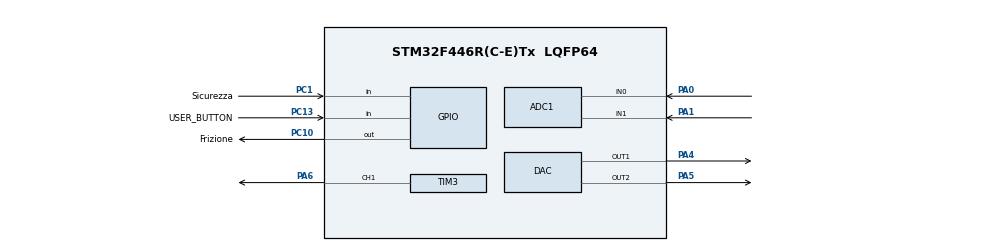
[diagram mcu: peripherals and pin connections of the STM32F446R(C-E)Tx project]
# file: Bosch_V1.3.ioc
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ADC1.Channel-2\#ChannelRegularConversion=ADC_CHANNEL_1
ADC1.Channel-3\#ChannelRegularConversion=ADC_CHANNEL_0
ADC1.ContinuousConvMode=ENABLE
ADC1.DMAContinuousRequests=ENABLE
ADC1.NbrOfConversion=2
ADC1.NbrOfConversionFlag=1
ADC1.Rank-2\#ChannelRegularConversion=1
ADC1.Rank-3\#ChannelRegularConversion=2
ADC1.SamplingTime-2\#ChannelRegularConversion=ADC_SAMPLETIME_144CYCLES
ADC1.SamplingTime-3\#ChannelRegularConversion=ADC_SAMPLETIME_144CYCLES
ADC1.master=1
Dma.ADC1.0.Direction=DMA_PERIPH_TO_MEMORY
Dma.ADC1.0.FIFOMode=DMA_FIFOMODE_DISABLE
Dma.ADC1.0.Instance=DMA2_Stream0
Dma.ADC1.0.MemDataAlignment=DMA_MDATAALIGN_HALFWORD
Dma.ADC1.0.MemInc=DMA_MINC_ENABLE
Dma.ADC1.0.Mode=DMA_CIRCULAR
Dma.ADC1.0.PeriphDataAlignment=DMA_PDATAALIGN_HALFWORD
Dma.ADC1.0.PeriphInc=DMA_PINC_DISABLE
Dma.ADC1.0.Priority=DMA_PRIORITY_LOW
Dma.Request0=ADC1
Mcu.Family=STM32F4
Mcu.Name=STM32F446R(C-E)Tx
Mcu.Package=LQFP64
NVIC.DMA2_Stream0_IRQn=true\:0\:0\:false\:false\:true\:false\:true
NVIC.PriorityGroup=NVIC_PRIORITYGROUP_4
PA0-WKUP.Signal=ADCx_IN0
PA1.Signal=ADCx_IN1
PA4.Signal=COMP_DAC1_group
PA5.Signal=COMP_DAC2_group
PA6.Signal=S_TIM3_CH1
PC1.GPIO_Label=Sicurezza
PC1.GPIO_PuPd=GPIO_PULLDOWN
PC1.Signal=GPIO_Input
PC10.GPIO_Label=Frizione
PC10.GPIO_PuPd=GPIO_PULLDOWN
PC10.Signal=GPIO_Output
PC13.GPIO_Label=USER_BUTTON
PC13.GPIO_PuPd=GPIO_NOPULL
PC13.Signal=GPIO_Input
PH0-OSC_IN.Mode=HSE-External-Oscillator
PH0-OSC_IN.Signal=RCC_OSC_IN
PH1-OSC_OUT.Mode=HSE-External-Oscillator
PH1-OSC_OUT.Signal=RCC_OSC_OUT
ProjectManager.HeapSize=0x200
ProjectManager.StackSize=0x400
ProjectManager.TargetToolchain=STM32CubeIDE
RCC.CortexFreq_Value=16000000
RCC.USBFreq_Value=96000000
RCC.VCOOutputFreq_Value=192000000
SH.ADCx_IN0.0=ADC1_IN0,IN0
SH.ADCx_IN1.0=ADC1_IN1,IN1
SH.COMP_DAC1_group.0=DAC_OUT1,DAC_OUT1
SH.COMP_DAC2_group.0=DAC_OUT2,DAC_OUT2
SH.S_TIM3_CH1.0=TIM3_CH1,PWM Generation1 CH1
TIM3.AutoReloadPreload=TIM_AUTORELOAD_PRELOAD_DISABLE
TIM3.Channel-PWM\ Generation1\ CH1=TIM_CHANNEL_1
TIM3.Period=3690
TIM3.Prescaler=160
board=custom

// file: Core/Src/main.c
/* USER CODE BEGIN Header */
/**
  ******************************************************************************
  * @file           : main.c
  * @brief          : Main program body
  ******************************************************************************
  * @attention
  *
  * <h2><center>&copy; Copyright (c) 2021 STMicroelectronics.
  * All rights reserved.</center></h2>
  *
  * This software component is licensed by ST under BSD 3-Clause license,
  * the "License"; You may not use this file except in compliance with the
  * License. You may obtain a copy of the License at:
  *                        opensource.org/licenses/BSD-3-Clause
  *
  ******************************************************************************
  */
/* USER CODE END Header */
#include "main.h"
#include "adc.h"
#include "dac.h"
#include "dma.h"
#include "tim.h"
#include "gpio.h"

/* USER CODE BEGIN Includes */
#include "pitches.h"
#include "stdbool.h"
#include "stdio.h"

#include "../../Drivers/CMSIS/DSP/Include/arm_math.h"
typedef float float32_t;
/* USER CODE END Includes */

/* USER CODE BEGIN PV */
volatile uint16_t Adc_Value[2] = {0};

// FIR
float ADC_APPS_array[10] = {0};
float APPS_Filtrati[10] = {0};
bool APPS_Control = false;
float MeanAPPSf = 0;
float MeanAPPSnf = 0;
uint8_t FIR_APS_Index = 0;
#define LOW_PASS_FIR_FILTER_LENGHT 10
#define BLOCK_COMPUTE 10
#define NUM_TAPS    10
const float FIR_Filter_Coefficent[LOW_PASS_FIR_FILTER_LENGHT] = {
		0.016016767419347,
		0.0377623366218183,
		0.0929763121731825,
		0.156003554306458,
		0.197241029479194,
		0.197241029479194,
		0.156003554306458,
		0.0929763121731825,
		0.0377623366218183,
		0.0160167674193471
};
arm_fir_instance_f32 S;
arm_status status;
float32_t  *inputF32, *outputF32;
static float firStateF32[BLOCK_COMPUTE + NUM_TAPS - 1];

/* USER CODE END PV */

void SystemClock_Config(void);

/* USER CODE BEGIN 0 */
extern uint8_t APPS_Output_Enabled;
extern uint32_t APPS_Out[2];

void noTone(uint8_t a);
void tone(uint8_t a, int b, int c);

//#define SAMPLEMODE
#define PARTENZAMODE

// BUZZER
uint16_t BuzzerDuty = 1000;
uint16_t BuzzerDuty_last = 0;
uint8_t  BuzzerStato = 0;
uint32_t BuzzerTimer = 0;
// END BUZZER

// UPT APS
uint32_t timerAPS = 0;
// UPT APS

// SICUREZZA
uint32_t Timer[3] = {0}; // due timer
volatile uint32_t Sicurezza_Debounce = 0;
volatile uint32_t Sicurezza1_Debounce = 0;

// PARTENZA
Definizione_Stato_Vettura Stato_Vettura = GuidaManuale;
uint8_t Partenza = 0;

int melody[] = {
  NOTE_FS5, NOTE_FS5, NOTE_D5, NOTE_B4, NOTE_B4, NOTE_E5,
  NOTE_E5, NOTE_E5, NOTE_GS5, NOTE_GS5, NOTE_A5, NOTE_B5,
  NOTE_A5, NOTE_A5, NOTE_A5, NOTE_E5, NOTE_D5, NOTE_FS5,
  NOTE_FS5, NOTE_FS5, NOTE_E5, NOTE_E5, NOTE_FS5, NOTE_E5
};

int durations[] = {
  8, 8, 8, 4, 4, 4,
  4, 5, 8, 8, 8, 8,
  8, 8, 8, 4, 4, 4,
  4, 5, 8, 8, 8, 8
};
// determine the length of the arrays to use in the loop iteration
int songLength = sizeof(melody)/sizeof(melody[0]);

// END PARTENZA

/* USER CODE END 0 */

int main(void)
{

  /* MCU Configuration--------------------------------------------------------*/

  /* Reset of all peripherals, Initializes the Flash interface and the Systick. */
  HAL_Init();

  /* Configure the system clock */
  SystemClock_Config();

  /* Initialize all configured peripherals */
  MX_GPIO_Init();
  MX_DMA_Init();
  MX_ADC1_Init();
  MX_DAC_Init();
  MX_TIM3_Init();
  /* USER CODE BEGIN 2 */
  HAL_ADC_Start_DMA(&hadc1, (uint32_t*)Adc_Value, 2);
  tone(8, 2700, 0);
  HAL_Delay(5000);
  HAL_TIM_PWM_Start(&htim3, TIM_CHANNEL_1); //Start PWM
  arm_fir_init_f32(&S, NUM_TAPS, FIR_Filter_Coefficent, &firStateF32, BLOCK_COMPUTE);
  /* USER CODE END 2 */

  /* Infinite loop */
  while (1)
  {

    /* USER CODE BEGIN 3 */

	// FILTRO FIR ACCELERATORE
	if (timerAPS == 0)
	  timerAPS = uwTick;
	else if (uwTick > timerAPS + 10 && FIR_APS_Index < 10) {
		  ADC_APPS_array[FIR_APS_Index++] = Adc_Value[0];
	}

	if(FIR_APS_Index == 9)
	{
		arm_fir_f32(&S,(float32_t *) &ADC_APPS_array[0], (float32_t *)&APPS_Filtrati[0], BLOCK_COMPUTE);
		 FIR_APS_Index = 0;
		float buffer1 = 0;
		float buffer2 = 0;
		for(int j = 0; j<10; j++)
		{
		  buffer1 += ADC_APPS_array[j];
		  buffer2 += APPS_Filtrati[j];
		}
		MeanAPPSnf = buffer1/10;
		MeanAPPSf = buffer2/10;
		timerAPS = uwTick;
		APPS_Output();
	}

	switch(Stato_Vettura) {
	case GuidaManuale:
		APPS_Output_Enabled = 0;

		if (HAL_GPIO_ReadPin(USER_BUTTON_GPIO_Port, USER_BUTTON_Pin) == GPIO_PIN_RESET) { // quando si preme il blue botton sulla scheda inizia la partenza
			if (Sicurezza1_Debounce == 0)
				Sicurezza1_Debounce = uwTick;
			else if (uwTick > Sicurezza1_Debounce + 50) {
				#ifdef PARTENZAMODE
				BuzzerDuty = 500;		// procedura di partenza
				Stato_Vettura = GuidaAutonoma;
				Partenza = 1;
				#endif
				#ifdef SAMPLEMODE
				HAL_GPIO_WritePin(Frizione_GPIO_Port, Frizione_Pin, GPIO_PIN_SET); // Procedura di sampling
				#endif
			}
		} else
		  Sicurezza1_Debounce = 0;

		break;
	case GuidaAutonoma:
		  /* Sicurezza viene dall'arduino
		   * Se è basso allora c'è un problema e bisogna fermare la macchina
		   */
		switch (Partenza) {
		case 0:
			break;
		case 1:
			BuzzerDuty = 250;
			HAL_GPIO_WritePin(Frizione_GPIO_Port, Frizione_Pin, GPIO_PIN_SET); // Procedura di partenza
			Partenza = 4;
			Timer[2] = uwTick;
			break;
		case 2:
			break;
		case 3:
			if (uwTick - Timer[2] > TEMPO2) {
				APPS_Out[0] = APPS_PARTITO_Value;
				APPS_Out[1] = APPS_PARTITO_Value/2;
				APPS_Output_Enabled = 1;
				APPS_Output();

				if (HAL_GPIO_ReadPin(Sicurezza_GPIO_Port, Sicurezza_Pin) == GPIO_PIN_RESET) { // entra nel ciclo solo la prima volta
					if (Sicurezza_Debounce == 0)
						Sicurezza_Debounce = uwTick;
					else if (uwTick >= Sicurezza_Debounce + 50) {	// ERRORE
						Stato_Vettura = Errore;
						BuzzerDuty = 100;
						break;
					}
				} else {
					Sicurezza_Debounce = 0;
				}

			}
			break;
		case 4: // Aspetta 5 secondi
			if (uwTick - Timer[2] > TEMPO1) {
				APPS_Out[0] = APPS_Partenza_Value;
				APPS_Out[1] = APPS_Partenza_Value/2;
				APPS_Output_Enabled = 1;
				APPS_Output();
				Partenza = 3;
				Timer[2] = uwTick;
			}
			break;
		}
		break;
	case Errore:
		HAL_GPIO_WritePin(Frizione_GPIO_Port, Frizione_Pin, GPIO_PIN_RESET); // La frizione viene staccata
		APPS_Out[0] = 0;
		APPS_Out[1] = 0;
		APPS_Output_Enabled = 1;
		APPS_Output();
		break;
	}

	if (uwTick > BuzzerTimer + (uint32_t)BuzzerDuty) {
		TIM3->CCR1 = (BuzzerStato) ? 0  : (TIM3->ARR)/2;;
		BuzzerStato = (BuzzerStato) ? 0 : 1;
		BuzzerTimer = uwTick;
	}

//	  for (int thisNote = 0; thisNote < songLength; thisNote++){
//	    // determine the duration of the notes that the computer understands
//	    // divide 1000 by the value, so the first note lasts for 1000/8 milliseconds
//	    int duration = 1000/ durations[thisNote];
//	    tone(8, melody[thisNote], duration);
//	    // pause between notes
//	    int pause = duration * 1.3;
//	    HAL_Delay(pause);
//	    // stop the tone
//	    noTone(8);
//	  }
  }
  /* USER CODE END 3 */
}

void SystemClock_Config(void)
{
  RCC_OscInitTypeDef RCC_OscInitStruct = {0};
  RCC_ClkInitTypeDef RCC_ClkInitStruct = {0};

  /** Configure the main internal regulator output voltage
  */
  __HAL_RCC_PWR_CLK_ENABLE();
  __HAL_PWR_VOLTAGESCALING_CONFIG(PWR_REGULATOR_VOLTAGE_SCALE3);
  /** Initializes the RCC Oscillators according to the specified parameters
  * in the RCC_OscInitTypeDef structure.
  */
  RCC_OscInitStruct.OscillatorType = RCC_OSCILLATORTYPE_HSI;
  RCC_OscInitStruct.HSIState = RCC_HSI_ON;
  RCC_OscInitStruct.HSICalibrationValue = RCC_HSICALIBRATION_DEFAULT;
  RCC_OscInitStruct.PLL.PLLState = RCC_PLL_NONE;
  if (HAL_RCC_OscConfig(&RCC_OscInitStruct) != HAL_OK)
  {
    Error_Handler();
  }
  /** Initializes the CPU, AHB and APB buses clocks
  */
  RCC_ClkInitStruct.ClockType = RCC_CLOCKTYPE_HCLK|RCC_CLOCKTYPE_SYSCLK
                              |RCC_CLOCKTYPE_PCLK1|RCC_CLOCKTYPE_PCLK2;
  RCC_ClkInitStruct.SYSCLKSource = RCC_SYSCLKSOURCE_HSI;
  RCC_ClkInitStruct.AHBCLKDivider = RCC_SYSCLK_DIV1;
  RCC_ClkInitStruct.APB1CLKDivider = RCC_HCLK_DIV1;
  RCC_ClkInitStruct.APB2CLKDivider = RCC_HCLK_DIV1;

  if (HAL_RCC_ClockConfig(&RCC_ClkInitStruct, FLASH_LATENCY_0) != HAL_OK)
  {
    Error_Handler();
  }
}

/* USER CODE BEGIN 4 */
void noTone(uint8_t a) {
	TIM3->ARR = 0;
}

void tone(uint8_t a, int b, int c) {
	TIM3->ARR = 100000/b;
	TIM3->CCR1 = (TIM3->ARR)/2;
}
/* USER CODE END 4 */

void Error_Handler(void)
{
  __disable_irq();
  while (1)
  {
  }
}

/************************ (C) COPYRIGHT STMicroelectronics *****END OF FILE****/
